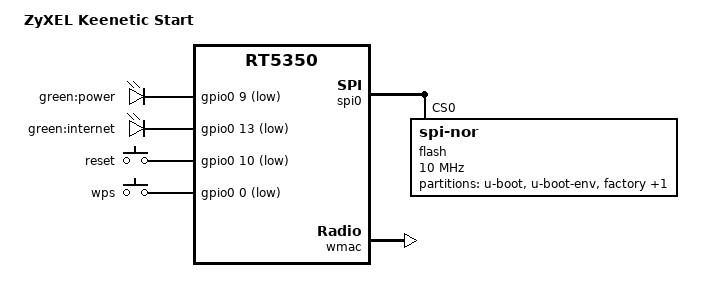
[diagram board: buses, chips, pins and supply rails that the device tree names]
// SPDX-License-Identifier: GPL-2.0-or-later OR MIT

#include "rt5350.dtsi"

#include <dt-bindings/gpio/gpio.h>
#include <dt-bindings/input/input.h>

/ {
	compatible = "zyxel,keenetic-start", "ralink,rt5350-soc";
	model = "ZyXEL Keenetic Start";

	aliases {
		led-boot = &led_power;
		led-failsafe = &led_power;
		led-running = &led_power;
		led-upgrade = &led_power;
		label-mac-device = &ethernet;
	};

	leds {
		compatible = "gpio-leds";

		led_power: power {
			label = "green:power";
			gpios = <&gpio0 9 GPIO_ACTIVE_LOW>;
		};

		internet {
			label = "green:internet";
			gpios = <&gpio0 13 GPIO_ACTIVE_LOW>;
		};
	};

	keys {
		compatible = "gpio-keys-polled";
		poll-interval = <20>;

		reset {
			label = "reset";
			gpios = <&gpio0 10 GPIO_ACTIVE_LOW>;
			linux,code = <KEY_RESTART>;
		};

		wps {
			label = "wps";
			gpios = <&gpio0 0 GPIO_ACTIVE_LOW>;
			linux,code = <KEY_WPS_BUTTON>;
		};
	};
};

&spi0 {
	status = "okay";

	flash@0 {
		compatible = "jedec,spi-nor";
		reg = <0>;
		spi-max-frequency = <10000000>;

		partitions {
			compatible = "fixed-partitions";
			#address-cells = <1>;
			#size-cells = <1>;

			partition@0 {
				label = "u-boot";
				reg = <0x0 0x30000>;
				read-only;
			};

			partition@30000 {
				label = "u-boot-env";
				reg = <0x30000 0x10000>;
				read-only;
			};

			factory: partition@40000 {
				label = "factory";
				reg = <0x40000 0x10000>;
				read-only;
			};

			partition@50000 {
				compatible = "denx,uimage";
				label = "firmware";
				reg = <0x50000 0x3b0000>;
			};
		};
	};
};

&state_default {
	gpio {
		groups = "i2c", "jtag", "uartf";
		function = "gpio";
	};
};

&ethernet {
	mtd-mac-address = <&factory 0x28>;
};

&esw {
	mediatek,portmap = <0x2f>;
	mediatek,led_polarity = <0x17>;
};

&wmac {
	status = "okay";
	ralink,led-polarity = <1>;
	ralink,mtd-eeprom = <&factory 0x0>;
};
